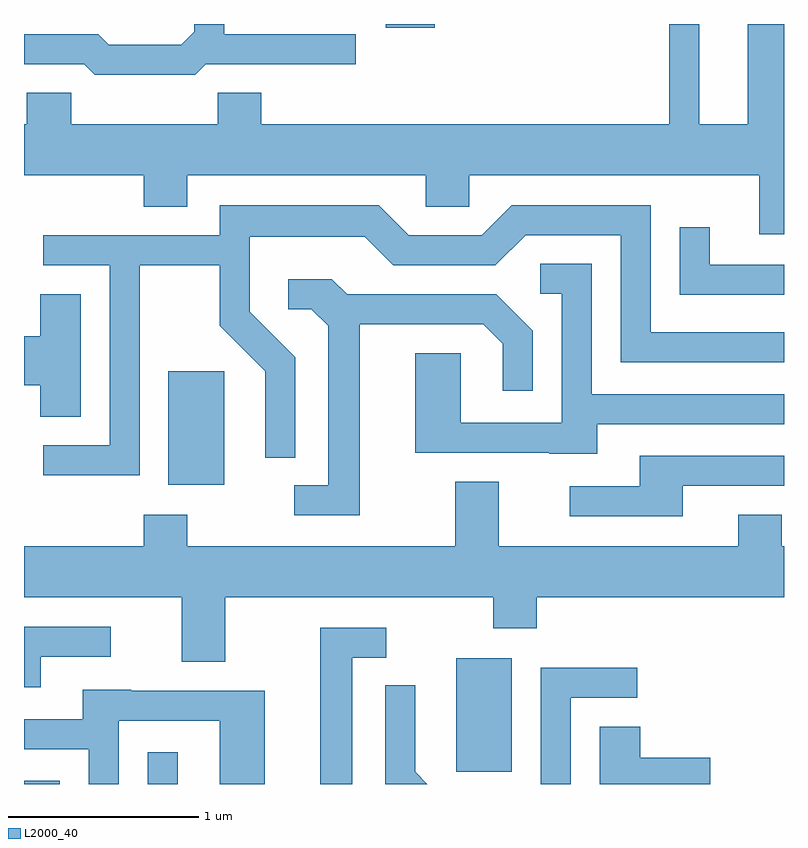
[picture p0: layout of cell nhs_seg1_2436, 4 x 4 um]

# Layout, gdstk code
import gdstk
lib = gdstk.Library(unit=1e-6, precision=1e-09)
def R(c, l, rs):  # rectangles x0, y0, x1, y1
    for r in rs: c.add(gdstk.rectangle(r[:2], r[2:], *l))
def P(c, l, *ps):  # polygons
    for p in ps: c.add(gdstk.Polygon(p, *l))
L2000_40 = (2000, 40)

nhs_seg1_2436 = lib.new_cell('nhs_seg1_2436')
R(nhs_seg1_2436, L2000_40, [(259.611,889.712,259.799,889.729), (260.261,889.712,260.419,889.878), (261.886,889.776,262.179,890.374), (260.371,891.286,260.664,891.884), (261.516,893.691,261.774,893.712)])
P(nhs_seg1_2436, L2000_40, [(260.567,893.501),(261.358,893.501),(261.358,893.659),(260.664,893.659),(260.664,893.712),(260.506,893.712),(260.506,893.672),(260.439,893.604),(260.057,893.604),(260.002,893.659),(259.611,893.659),(259.611,893.501),(259.929,893.501),(259.984,893.446),(260.512,893.446)],
  [(263.611,893.712),(263.421,893.712),(263.421,893.184),(263.164,893.184),(263.164,893.712),(263.006,893.712),(263.006,893.184),(260.859,893.184),(260.859,893.349),(260.631,893.349),(260.631,893.184),(259.859,893.184),(259.859,893.349),(259.626,893.349),(259.626,893.184),(259.611,893.184),(259.611,892.916),(260.241,892.916),(260.241,892.751),(260.469,892.751),(260.469,892.916),(261.726,892.916),(261.726,892.751),(261.954,892.751),(261.954,892.916),(263.481,892.916),(263.481,892.606),(263.611,892.606)],
  [(260.219,892.441),(260.641,892.441),(260.641,892.124),(260.881,891.884),(260.881,891.428),(261.039,891.428),(261.039,891.957),(260.799,892.197),(260.799,892.591),(261.404,892.591),(261.554,892.441),(262.092,892.441),(262.252,892.601),(262.751,892.601),(262.751,891.931),(263.611,891.931),(263.611,892.089),(262.909,892.089),(262.909,892.759),(262.179,892.759),(262.019,892.599),(261.637,892.599),(261.477,892.759),(260.641,892.759),(260.641,892.599),(259.712,892.599),(259.712,892.441),(260.061,892.441),(260.061,891.494),(259.712,891.494),(259.712,891.336),(260.219,891.336)],
  [(263.611,892.444),(263.219,892.444),(263.219,892.643),(263.061,892.643),(263.061,892.286),(263.611,892.286)],
  [(262.629,891.606),(263.611,891.606),(263.611,891.764),(262.599,891.764),(262.599,892.449),(262.328,892.449),(262.328,892.291),(262.441,892.291),(262.441,891.614),(261.909,891.614),(261.909,891.979),(261.671,891.979),(261.671,891.456),(262.375,891.456),(262.375,891.451),(262.629,891.451)],
  [(261.379,892.131),(262.029,892.131),(262.131,892.029),(262.131,891.783),(262.289,891.783),(262.289,892.097),(262.097,892.289),(261.312,892.289),(261.231,892.369),(261.003,892.369),(261.003,892.211),(261.123,892.211),(261.211,892.124),(261.211,891.284),(261.033,891.284),(261.033,891.126),(261.379,891.126)],
  [(259.909,892.289),(259.696,892.289),(259.696,892.069),(259.611,892.069),(259.611,891.811),(259.696,891.811),(259.696,891.646),(259.909,891.646)],
  [(263.079,891.281),(263.611,891.281),(263.611,891.439),(262.851,891.439),(262.851,891.279),(262.483,891.279),(262.483,891.121),(263.079,891.121)],
  [(260.669,890.696),(262.081,890.696),(262.081,890.531),(262.309,890.531),(262.309,890.696),(263.611,890.696),(263.611,890.964),(263.599,890.964),(263.599,891.129),(263.371,891.129),(263.371,890.964),(262.109,890.964),(262.109,891.304),(261.881,891.304),(261.881,890.964),(260.469,890.964),(260.469,891.129),(260.241,891.129),(260.241,890.964),(259.611,890.964),(259.611,890.696),(260.441,890.696),(260.441,890.356),(260.669,890.356)],
  [(259.699,890.381),(260.068,890.381),(260.068,890.539),(259.611,890.539),(259.611,890.221),(259.699,890.221)],
  [(261.339,890.376),(261.517,890.376),(261.517,890.534),(261.171,890.534),(261.171,889.712),(261.339,889.712)],
  [(262.489,890.166),(262.838,890.166),(262.838,890.324),(262.331,890.324),(262.331,889.712),(262.489,889.712)],
  [(261.669,889.777),(261.669,890.233),(261.511,890.233),(261.511,889.712),(261.734,889.712)],
  [(260.109,890.046),(260.641,890.046),(260.641,889.712),(260.879,889.712),(260.879,890.204),(260.175,890.204),(260.175,890.209),(259.921,890.209),(259.921,890.054),(259.611,890.054),(259.611,889.896),(259.951,889.896),(259.951,889.712),(260.109,889.712)],
  [(263.224,889.849),(262.854,889.849),(262.854,890.014),(262.641,890.014),(262.641,889.712),(263.224,889.712)])

lib.write_gds('nhs_seg1_2436.gds')
